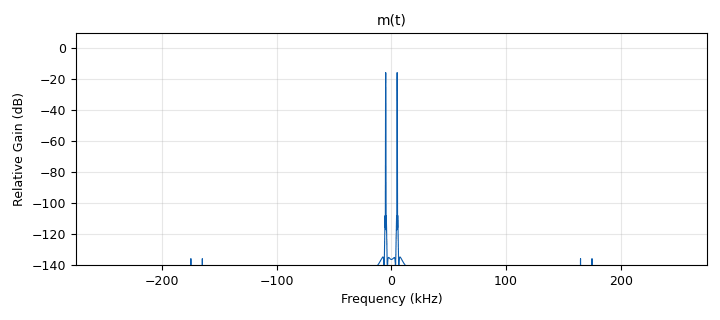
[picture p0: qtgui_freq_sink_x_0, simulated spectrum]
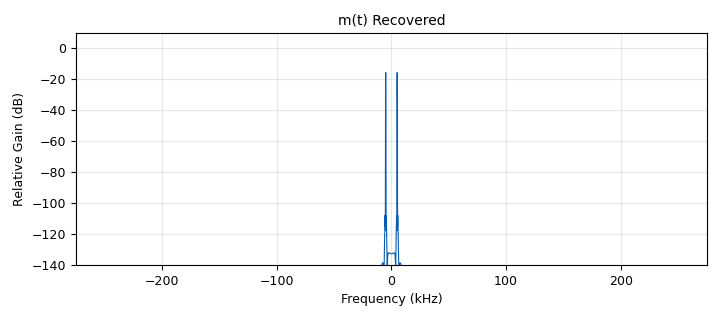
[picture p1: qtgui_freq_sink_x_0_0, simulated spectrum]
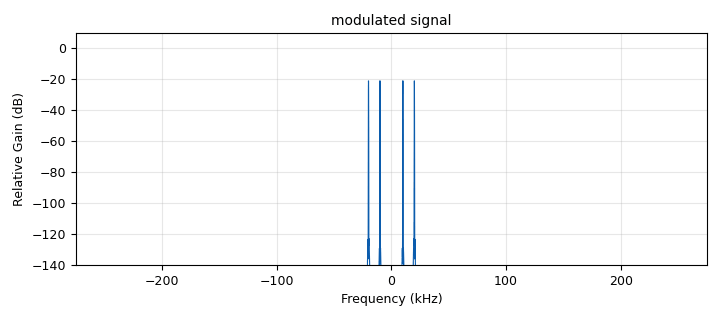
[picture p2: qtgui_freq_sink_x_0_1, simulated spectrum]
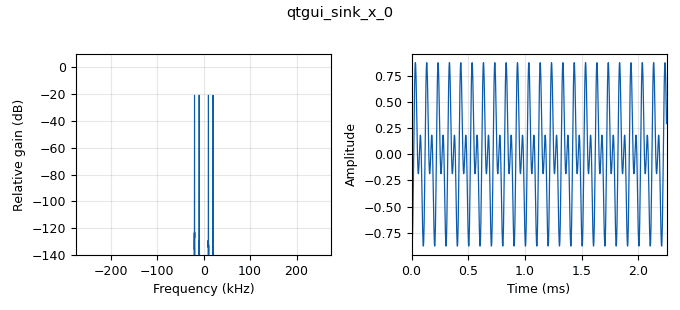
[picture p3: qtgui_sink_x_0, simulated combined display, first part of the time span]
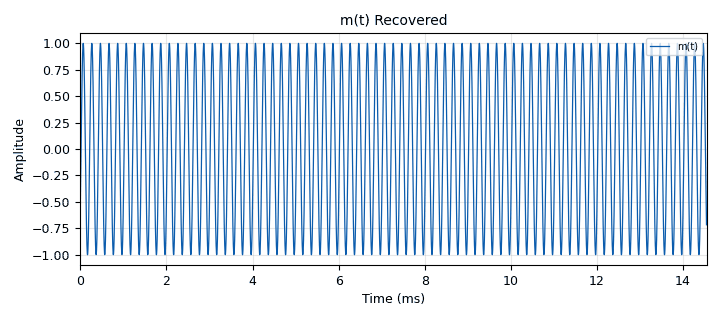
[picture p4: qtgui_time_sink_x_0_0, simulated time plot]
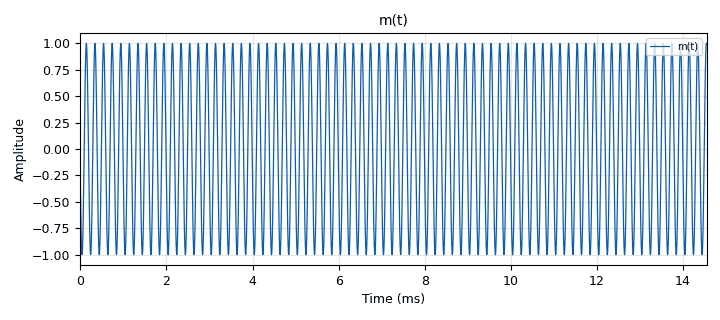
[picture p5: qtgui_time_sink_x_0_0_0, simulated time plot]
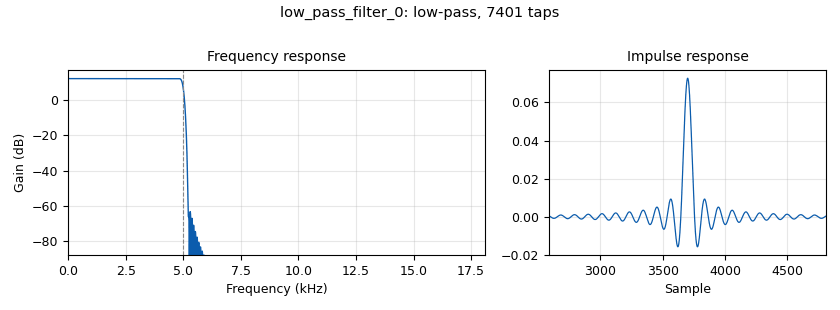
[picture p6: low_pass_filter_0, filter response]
options:
  parameters:
    generate_options: qt_gui
    id: untitled
    output_language: python
    title: Not titled yet
  states: {}

blocks:
- name: samp_rate
  id: variable
  parameters:
    value: '550000'
  states: {}
- name: analog_sig_source_x_0_0
  id: analog_sig_source_x
  parameters:
    amp: '1'
    freq: '15000'
    offset: '0'
    phase: '0'
    samp_rate: samp_rate
    type: float
    waveform: analog.GR_COS_WAVE
  states: {}
- name: analog_sig_source_x_0_0_0
  id: analog_sig_source_x
  parameters:
    amp: '1'
    freq: '5000'
    offset: '0'
    phase: '0'
    samp_rate: samp_rate
    type: float
    waveform: analog.GR_SIN_WAVE
  states: {}
- name: analog_sig_source_x_0_1
  id: analog_sig_source_x
  parameters:
    amp: '1'
    freq: '15000'
    offset: '0'
    phase: '0'
    samp_rate: samp_rate
    type: float
    waveform: analog.GR_COS_WAVE
  states: {}
- name: blocks_multiply_xx_0
  id: blocks_multiply_xx
  parameters:
    type: float
  states: {}
- name: blocks_multiply_xx_0_0
  id: blocks_multiply_xx
  parameters:
    type: float
  states: {}
- name: low_pass_filter_0
  id: low_pass_filter
  parameters:
    cutoff_freq: '5000'
    decim: '1'
    gain: '4'
    samp_rate: samp_rate
    type: fir_filter_fff
    width: '250'
    win: window.WIN_BLACKMAN
  states: {}
- name: qtgui_freq_sink_x_0
  id: qtgui_freq_sink_x
  parameters:
    bw: samp_rate
    fc: '0'
    fftsize: '8192'
    name: '"m(t)"'
    type: float
  states: {}
- name: qtgui_freq_sink_x_0_0
  id: qtgui_freq_sink_x
  parameters:
    bw: samp_rate
    fc: '0'
    fftsize: '8192'
    name: '"m(t) Recovered"'
    type: float
  states: {}
- name: qtgui_freq_sink_x_0_1
  id: qtgui_freq_sink_x
  parameters:
    bw: samp_rate
    fc: '0'
    fftsize: '8192'
    name: '"modulated signal"'
    type: float
  states: {}
- name: qtgui_sink_x_0
  id: qtgui_sink_x
  parameters:
    bw: samp_rate
    fc: '0'
    fftsize: '8192'
    type: float
  states: {}
- name: qtgui_time_sink_x_0_0
  id: qtgui_time_sink_x
  parameters:
    autoscale: 'True'
    ctrlpanel: 'True'
    grid: 'True'
    label1: m(t)
    name: '"m(t) Recovered"'
    size: '8000'
    srate: samp_rate
    type: float
  states: {}
- name: qtgui_time_sink_x_0_0_0
  id: qtgui_time_sink_x
  parameters:
    autoscale: 'True'
    ctrlpanel: 'True'
    grid: 'True'
    label1: m(t)
    name: '"m(t)"'
    size: '8000'
    srate: samp_rate
    type: float
  states: {}
- name: qtgui_time_sink_x_0_1
  id: qtgui_time_sink_x
  parameters:
    ctrlpanel: 'True'
    label1: m(t)
    name: '"modulated signal"'
    size: '1024'
    srate: samp_rate
    type: float
  states: {}

connections:
- [analog_sig_source_x_0_0, '0', blocks_multiply_xx_0, '1']
- [analog_sig_source_x_0_0_0, '0', blocks_multiply_xx_0, '0']
- [analog_sig_source_x_0_0_0, '0', qtgui_freq_sink_x_0, '0']
- [analog_sig_source_x_0_0_0, '0', qtgui_time_sink_x_0_0_0, '0']
- [analog_sig_source_x_0_1, '0', blocks_multiply_xx_0_0, '1']
- [blocks_multiply_xx_0, '0', blocks_multiply_xx_0_0, '0']
- [blocks_multiply_xx_0, '0', qtgui_freq_sink_x_0_1, '0']
- [blocks_multiply_xx_0, '0', qtgui_sink_x_0, '0']
- [blocks_multiply_xx_0, '0', qtgui_time_sink_x_0_1, '0']
- [blocks_multiply_xx_0_0, '0', low_pass_filter_0, '0']
- [low_pass_filter_0, '0', qtgui_freq_sink_x_0_0, '0']
- [low_pass_filter_0, '0', qtgui_time_sink_x_0_0, '0']

metadata:
  file_format: 1
  grc_version: 3.10.10.0
